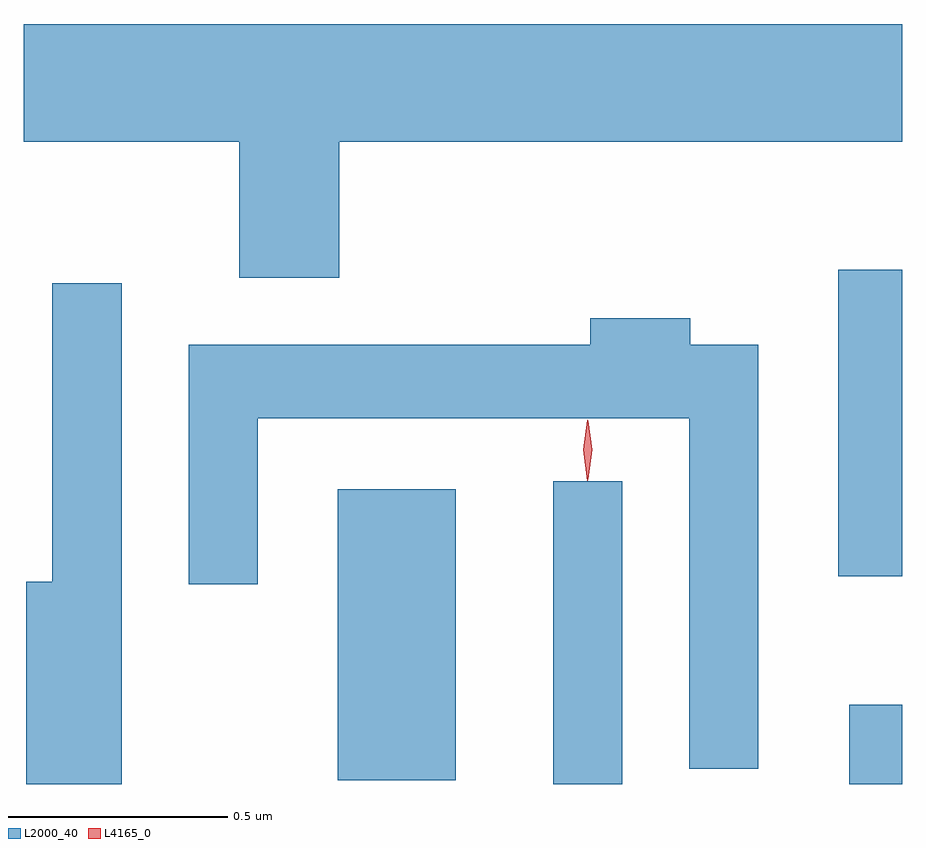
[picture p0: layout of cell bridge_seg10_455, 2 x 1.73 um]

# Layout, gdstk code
import gdstk
lib = gdstk.Library(unit=1e-6, precision=1e-09)
def R(c, l, rs):  # rectangles x0, y0, x1, y1
    for r in rs: c.add(gdstk.rectangle(r[:2], r[2:], *l))
def P(c, l, *ps):  # polygons
    for p in ps: c.add(gdstk.Polygon(p, *l))
L2000_40 = (2000, 40)
L4165_0 = (4165, 0)

bridge_seg10_455 = lib.new_cell('bridge_seg10_455')
R(bridge_seg10_455, L2000_40, [(1424.546,2088.033,1424.704,2088.722), (1425.221,2088.033,1425.341,2088.214), (1424.056,2088.041,1424.324,2088.704), (1425.196,2088.506,1425.341,2089.204)])
P(bridge_seg10_455, L2000_40, [(1424.059,2089.496),(1425.341,2089.496),(1425.341,2089.764),(1423.341,2089.764),(1423.341,2089.496),(1423.831,2089.496),(1423.831,2089.186),(1424.059,2089.186)],
  [(1423.564,2089.173),(1423.406,2089.173),(1423.406,2088.494),(1423.346,2088.494),(1423.346,2088.033),(1423.564,2088.033)],
  [(1425.014,2089.034),(1424.859,2089.034),(1424.859,2089.094),(1424.631,2089.094),(1424.631,2089.034),(1423.716,2089.034),(1423.716,2088.488),(1423.874,2088.488),(1423.874,2088.866),(1424.856,2088.866),(1424.856,2088.068),(1425.014,2088.068)])
P(bridge_seg10_455, L4165_0, [(1424.624,2088.724),(1424.615,2088.794),(1424.624,2088.862),(1424.625,2088.863),(1424.625,2088.862),(1424.635,2088.794),(1424.625,2088.724),(1424.625,2088.724)],
  [(1424.625,2088.727),(1424.625,2088.727),(1424.616,2088.794),(1424.625,2088.86),(1424.626,2088.86),(1424.626,2088.86),(1424.635,2088.794),(1424.626,2088.727)])

lib.write_gds('bridge_seg10_455.gds')
